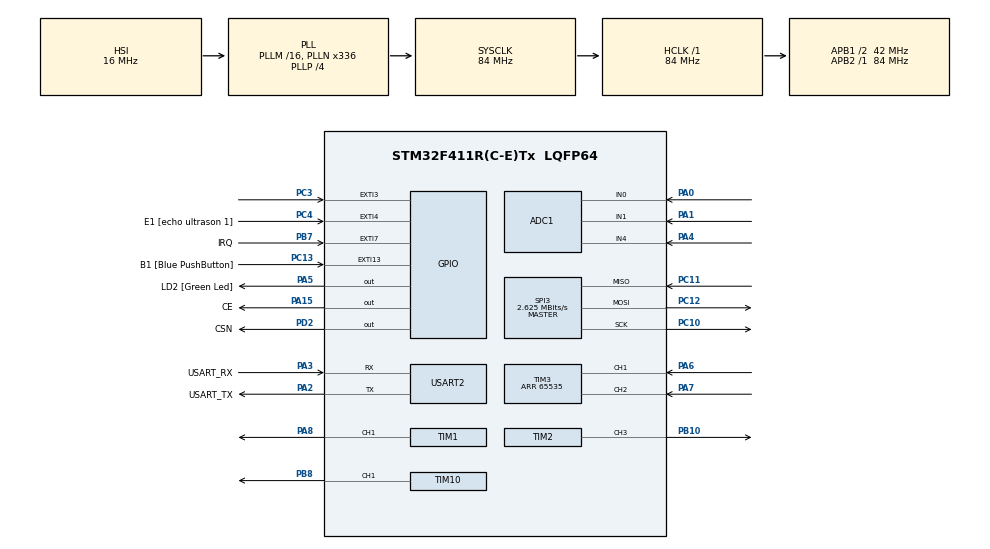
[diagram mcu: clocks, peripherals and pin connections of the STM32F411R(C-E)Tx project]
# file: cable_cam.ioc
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ADC1.Channel-0\#ChannelRegularConversion=ADC_CHANNEL_0
ADC1.ContinuousConvMode=ENABLE
ADC1.NbrOfConversionFlag=1
ADC1.Rank-0\#ChannelRegularConversion=1
ADC1.SamplingTime-0\#ChannelRegularConversion=ADC_SAMPLETIME_3CYCLES
ADC1.master=1
Mcu.Family=STM32F4
Mcu.Name=STM32F411R(C-E)Tx
Mcu.Package=LQFP64
NVIC.EXTI15_10_IRQn=true\:0\:0\:false
NVIC.EXTI3_IRQn=true\:0\:0\:false
NVIC.EXTI4_IRQn=true\:0\:0\:false
NVIC.EXTI9_5_IRQn=true\:0\:0\:false
NVIC.PriorityGroup=NVIC_PRIORITYGROUP_0
NVIC.TIM1_TRG_COM_TIM11_IRQn=true\:0\:0\:false
NVIC.TIM2_IRQn=true\:0\:0\:false
NVIC.TIM4_IRQn=true\:0\:0\:false
NVIC.TIM5_IRQn=true\:0\:0\:false
PA0-WKUP.Signal=ADCx_IN0
PA1.Signal=ADCx_IN1
PA13.GPIO_Label=TMS
PA13.Signal=SYS_JTMS-SWDIO
PA14.GPIO_Label=TCK
PA14.Signal=SYS_JTCK-SWCLK
PA15.GPIO_Label=CE
PA15.Signal=GPIO_Output
PA2.GPIO_Label=USART_TX
PA2.Mode=Asynchronous
PA2.Signal=USART2_TX
PA3.GPIO_Label=USART_RX
PA3.Mode=Asynchronous
PA3.Signal=USART2_RX
PA4.Signal=ADCx_IN4
PA5.GPIO_Label=LD2 [Green Led]
PA5.GPIO_PuPd=GPIO_NOPULL
PA5.Signal=GPIO_Output
PA6.Signal=S_TIM3_CH1
PA7.Signal=S_TIM3_CH2
PA8.Signal=S_TIM1_CH1
PB10.Signal=S_TIM2_CH3
PB3.GPIO_Label=SWO
PB3.Signal=SYS_JTDO-SWO
PB7.GPIO_Label=IRQ
PB7.GPIO_ModeDefaultEXTI=GPIO_MODE_IT_FALLING
PB7.GPIO_PuPd=GPIO_PULLUP
PB7.Signal=GPXTI7
PB8.Signal=S_TIM10_CH1
PC10.Mode=Full_Duplex_Master
PC10.Signal=SPI3_SCK
PC11.Mode=Full_Duplex_Master
PC11.Signal=SPI3_MISO
PC12.Mode=Full_Duplex_Master
PC12.Signal=SPI3_MOSI
PC13-ANTI_TAMP.GPIO_Label=B1 [Blue PushButton]
PC13-ANTI_TAMP.GPIO_ModeDefaultEXTI=GPIO_MODE_IT_FALLING
PC13-ANTI_TAMP.GPIO_PuPd=GPIO_PULLUP
PC13-ANTI_TAMP.Signal=GPXTI13
PC14-OSC32_IN.Signal=RCC_OSC32_IN
PC15-OSC32_OUT.Signal=RCC_OSC32_OUT
PC3.GPIO_ModeDefaultEXTI=GPIO_MODE_IT_RISING_FALLING
PC3.Signal=GPXTI3
PC4.GPIO_Label=E1 [echo ultrason 1]
PC4.GPIO_ModeDefaultEXTI=GPIO_MODE_IT_RISING_FALLING
PC4.GPIO_PuPd=GPIO_PULLUP
PC4.Signal=GPXTI4
PD2.GPIO_Label=CSN
PD2.Signal=GPIO_Output
PH0\ -\ OSC_IN.Signal=RCC_OSC_IN
PH1\ -\ OSC_OUT.Signal=RCC_OSC_OUT
ProjectManager.HeapSize=0x400
ProjectManager.StackSize=0x200
ProjectManager.TargetToolchain=SW4STM32
RCC.48MHZClocksFreq_Value=84000000
RCC.AHBFreq_Value=84000000
RCC.APB1CLKDivider=RCC_HCLK_DIV2
RCC.APB1Freq_Value=42000000
RCC.APB1TimFreq_Value=84000000
RCC.APB2Freq_Value=84000000
RCC.APB2TimFreq_Value=84000000
RCC.CortexFreq_Value=84000000
RCC.FLatency-AdvancedSettings=FLASH_LATENCY_2
RCC.HCLKFreq_Value=84000000
RCC.HSE_VALUE=8000000
RCC.HSI_VALUE=16000000
RCC.LSE_VALUE=32768
RCC.PLLN=336
RCC.PLLP=RCC_PLLP_DIV4
RCC.SYSCLKFreq_VALUE=84000000
RCC.SYSCLKSource=RCC_SYSCLKSOURCE_PLLCLK
RCC.VCOOutputFreq_Value=336000000
SH.ADCx_IN0.0=ADC1_IN0,IN0
SH.ADCx_IN1.0=ADC1_IN1,IN1
SH.ADCx_IN4.0=ADC1_IN4,IN4
SH.S_TIM10_CH1.0=TIM10_CH1,PWM Generation1 CH1
SH.S_TIM1_CH1.0=TIM1_CH1,PWM Generation1 CH1
SH.S_TIM2_CH3.0=TIM2_CH3,PWM Generation3 CH3
SH.S_TIM3_CH1.0=TIM3_CH1,Encoder_Interface
SH.S_TIM3_CH2.0=TIM3_CH2,Encoder_Interface
SPI3.BaudRatePrescaler=SPI_BAUDRATEPRESCALER_16
SPI3.CalculateBaudRate=2.625 MBits/s
SPI3.Mode=SPI_MODE_MASTER
TIM1.AutomaticOutput=TIM_AUTOMATICOUTPUT_ENABLE
TIM1.ClockDivision=TIM_CLOCKDIVISION_DIV4
TIM1.OCMode_PWM-PWM\ Generation1\ CH1=TIM_OCMODE_PWM2
TIM1.OCPolarity_1=TIM_OCPOLARITY_LOW
TIM1.Period=65000
TIM1.Prescaler=25
TIM1.Pulse-PWM\ Generation1\ CH1=4000
TIM1.RepetitionCounter=1
TIM10.ClockDivision=TIM_CLOCKDIVISION_DIV4
TIM10.Period=65525
TIM10.Prescaler=84
TIM10.Pulse=13050
TIM11.ClockDivision=TIM_CLOCKDIVISION_DIV4
TIM11.Period=65535
TIM11.Prescaler=64
TIM2.Channel-PWM\ Generation3\ CH3=TIM_CHANNEL_3
TIM2.ClockDivision=TIM_CLOCKDIVISION_DIV4
TIM2.OCMode_PWM-PWM\ Generation3\ CH3=TIM_OCMODE_PWM2
TIM2.Period=4294967295
TIM2.Prescaler=31
TIM2.Pulse-PWM\ Generation3\ CH3=1073741823
TIM3.Period=65535
TIM4.ClockDivision=TIM_CLOCKDIVISION_DIV4
TIM4.Period=65535
TIM4.Prescaler=1280
TIM5.ClockDivision=TIM_CLOCKDIVISION_DIV4
TIM5.Period=65535
TIM5.Prescaler=640
VP_TIM10_VS_ClockSourceINT.Mode=Enable_Timer
VP_TIM11_VS_ClockSourceINT.Mode=Enable_Timer
VP_TIM1_VS_ClockSourceINT.Mode=Internal
VP_TIM1_VS_ClockSourceITR.Mode=TriggerSource_ITR0
VP_TIM2_VS_ClockSourceINT.Mode=Internal
VP_TIM2_VS_ClockSourceITR.Mode=TriggerSource_ITR2
VP_TIM4_VS_ClockSourceINT.Mode=Internal
VP_TIM4_VS_ClockSourceITR.Mode=TriggerSource_ITR1
VP_TIM5_VS_ClockSourceINT.Mode=Internal
VP_TIM5_VS_ClockSourceITR.Mode=TriggerSource_ITR2
board=NUCLEO-F411RE

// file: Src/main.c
/**
  ******************************************************************************
  * File Name          : main.c
  * Description        : Main program body
  ******************************************************************************
  *
  * COPYRIGHT(c) 2016 STMicroelectronics
  *
  * Redistribution and use in source and binary forms, with or without modification,
  * are permitted provided that the following conditions are met:
  *   1. Redistributions of source code must retain the above copyright notice,
  *      this list of conditions and the following disclaimer.
  *   2. Redistributions in binary form must reproduce the above copyright notice,
  *      this list of conditions and the following disclaimer in the documentation
  *      and/or other materials provided with the distribution.
  *   3. Neither the name of STMicroelectronics nor the names of its contributors
  *      may be used to endorse or promote products derived from this software
  *      without specific prior written permission.
  *
  * THIS SOFTWARE IS PROVIDED BY THE COPYRIGHT HOLDERS AND CONTRIBUTORS "AS IS"
  * AND ANY EXPRESS OR IMPLIED WARRANTIES, INCLUDING, BUT NOT LIMITED TO, THE
  * IMPLIED WARRANTIES OF MERCHANTABILITY AND FITNESS FOR A PARTICULAR PURPOSE ARE
  * DISCLAIMED. IN NO EVENT SHALL THE COPYRIGHT HOLDER OR CONTRIBUTORS BE LIABLE
  * FOR ANY DIRECT, INDIRECT, INCIDENTAL, SPECIAL, EXEMPLARY, OR CONSEQUENTIAL
  * DAMAGES (INCLUDING, BUT NOT LIMITED TO, PROCUREMENT OF SUBSTITUTE GOODS OR
  * SERVICES; LOSS OF USE, DATA, OR PROFITS; OR BUSINESS INTERRUPTION) HOWEVER
  * CAUSED AND ON ANY THEORY OF LIABILITY, WHETHER IN CONTRACT, STRICT LIABILITY,
  * OR TORT (INCLUDING NEGLIGENCE OR OTHERWISE) ARISING IN ANY WAY OUT OF THE USE
  * OF THIS SOFTWARE, EVEN IF ADVISED OF THE POSSIBILITY OF SUCH DAMAGE.
  *
  ******************************************************************************
  */
#include "stm32f4xx_hal.h"
#include "adc.h"
#include "spi.h"
#include "tim.h"
#include "usart.h"
#include "gpio.h"

/* USER CODE BEGIN Includes */
#include "NRF24L01.h"
#include "stdio.h"
#include "string.h"
/* USER CODE END Includes */

/* USER CODE BEGIN PV */
/* Private variables ---------------------------------------------------------*/
 uint32_t adcValue = 0;
 uint8_t rx_data[10];
 uint8_t NRF24L01_Status;
 sRX controlStruct;
 uTelemetry utelemetry;
 sTelemetry telemetryStruct;

 uint8_t printBuffer[64];
 uint8_t n;
/* USER CODE END PV */

void SystemClock_Config(void);

/* USER CODE BEGIN PFP */
/* Private function prototypes -----------------------------------------------*/
void parseRXMessages(uint8_t *rxBuffer, sRX *rxData);
void wallDetection(sRX *control,sTelemetry *telemetry);
/* USER CODE END PFP */

int main(void)
{

  /* MCU Configuration----------------------------------------------------------*/

  /* Reset of all peripherals, Initializes the Flash interface and the Systick. */
  HAL_Init();

  /* Configure the system clock */
  SystemClock_Config();

  /* Initialize all configured peripherals */
  MX_GPIO_Init();
  MX_ADC1_Init();
  MX_TIM1_Init();
  MX_TIM3_Init();
  MX_USART2_UART_Init();
  MX_TIM11_Init();
  MX_TIM4_Init();
  MX_SPI3_Init();
  MX_TIM2_Init();
  MX_TIM10_Init();
  MX_TIM5_Init();

  /* USER CODE BEGIN 2 */
  HAL_TIM_Encoder_Start(&htim3,TIM3);
  HAL_TIM_PWM_Start (&htim1, TIM1);
  HAL_TIM_PWM_Start (&htim2, TIM2);
  HAL_TIM_PWM_Start (&htim10, TIM10);
  HAL_ADC_Start(&hadc1);
  HAL_TIM_Base_Start_IT(&htim4);
  HAL_TIM_Base_Start_IT(&htim5);
  HAL_TIM_Base_Start_IT(&htim11);

  NRF24l01_Initialization(&hspi3,PRX);
  NRF24L01_Status= NRF24L01_Read_Status(&hspi3);
  NRF24L01_Clear_RX_DR(&hspi3,NRF24L01_Status);
  NRF24L01_Flush(&hspi3,RX);
//  HAL_TIM_Encoder_Start(&htim3,TIM_CHANNEL_1);
  /* USER CODE END 2 */

  /* Infinite loop */
  /* USER CODE BEGIN WHILE */

  while (1)
  {
//	  n = sprintf(printBuffer,"a\n\r");
//	  HAL_UART_Transmit(&huart2,printBuffer,n,1000);
	  adcValue = TIM3->CNT;
//      adcValue = HAL_ADC_GetValue(&hadc1);
//      TIM_PWM_SetPulse(&htim1,000);
//	  n = sprintf(printBuffer,"%d, %d\n\r",utelemetry.telemetry.distanceFront,utelemetry.telemetry.distanceBack);
//	  HAL_UART_Transmit(&huart2,printBuffer,n,1000);
//	  memcpy(rx_data,"{|}",3);
//	  parseRXMessages(rx_data,&controlStruct);
//	  wallDetection(&controlStruct,&telemetryStruct);
	  TIM_PWM_SetPulse(&htim1,(controlStruct.torque*50)+2500);
      if (controlStruct.requestTelem == 1)
      {
    	  HAL_GPIO_TogglePin(GPIOA, LD2_Pin);
    	  NRF24L01_Mode(&hspi3,PTX);
    	  HAL_Delay(10);
    	  NRF24L01_Transmit(&hspi3,0x385338,utelemetry.aTelemetry,9,TRUE);
		  clear_flag_IRQ();
    	  NRF24L01_Mode(&hspi3,PRX);
    	  controlStruct.requestTelem = 0;
    	  n = sprintf(printBuffer,"value sent\n\r");
    	  HAL_UART_Transmit(&huart2,printBuffer,n,1000);
      }
	  if(get_flag_IRQ()||((HAL_GPIO_ReadPin(GPIOA,GPIO_PIN_7)==GPIO_PIN_RESET))){
		  __HAL_TIM_SetCounter(&htim5, 0);//reset keepalive counter
		  NRF24L01_Status= NRF24L01_Read_Status(&hspi3);
		  //printf("IRQ\r");
		  if((NRF24L01_Status >> 1)==1){
			  NRF24L01_Flush(&hspi3,RX);
		  }
		  if(NRF24L01_Status & (1<<RX_DR)){
			  rx_data[0]=NRF24L01_Read_Data_Pipe_Number(&hspi3,NRF24L01_Status);
			  NRF24L01_Read_RX_Payload(&hspi3,rx_data,RX_PIPE_1_PAYLOAD);
			  HAL_UART_Transmit(&huart2,rx_data,3,1000);
			  parseRXMessages(rx_data,&controlStruct);
			  NRF24L01_Clear_RX_DR(&hspi3,NRF24L01_Status);
//			  HAL_GPIO_TogglePin(GPIOA, LD2_Pin);
		  }
		  if(NRF24L01_Status & (1<<TX_DS)){
			  NRF24L01_Flush(&hspi3,TX);
			  NRF24L01_Clear_TX_DS(&hspi3,NRF24L01_Status);
		  }
		  if(NRF24L01_Status & (1<<MAX_RT)){
			  NRF24L01_Flush(&hspi3,TX);
			  NRF24L01_Clear_MAX_RT(&hspi3,NRF24L01_Status);
		  }
		  clear_flag_IRQ();
	  }
     // HAL_Delay(20);
  /* USER CODE END WHILE */

  /* USER CODE BEGIN 3 */
//	  HAL_GPIO_WritePin(LD2_GPIO_Port, LD2_Pin, GPIO_PIN_SET);
  }

  /* USER CODE END 3 */

}

/** System Clock Configuration
*/
void SystemClock_Config(void)
{

  RCC_OscInitTypeDef RCC_OscInitStruct;
  RCC_ClkInitTypeDef RCC_ClkInitStruct;

  __PWR_CLK_ENABLE();

  __HAL_PWR_VOLTAGESCALING_CONFIG(PWR_REGULATOR_VOLTAGE_SCALE1);

  RCC_OscInitStruct.OscillatorType = RCC_OSCILLATORTYPE_HSI;
  RCC_OscInitStruct.HSIState = RCC_HSI_ON;
  RCC_OscInitStruct.HSICalibrationValue = 16;
  RCC_OscInitStruct.PLL.PLLState = RCC_PLL_ON;
  RCC_OscInitStruct.PLL.PLLSource = RCC_PLLSOURCE_HSI;
  RCC_OscInitStruct.PLL.PLLM = 16;
  RCC_OscInitStruct.PLL.PLLN = 336;
  RCC_OscInitStruct.PLL.PLLP = RCC_PLLP_DIV4;
  RCC_OscInitStruct.PLL.PLLQ = 4;
  HAL_RCC_OscConfig(&RCC_OscInitStruct);

  RCC_ClkInitStruct.ClockType = RCC_CLOCKTYPE_HCLK|RCC_CLOCKTYPE_SYSCLK
                              |RCC_CLOCKTYPE_PCLK1|RCC_CLOCKTYPE_PCLK2;
  RCC_ClkInitStruct.SYSCLKSource = RCC_SYSCLKSOURCE_PLLCLK;
  RCC_ClkInitStruct.AHBCLKDivider = RCC_SYSCLK_DIV1;
  RCC_ClkInitStruct.APB1CLKDivider = RCC_HCLK_DIV2;
  RCC_ClkInitStruct.APB2CLKDivider = RCC_HCLK_DIV1;
  HAL_RCC_ClockConfig(&RCC_ClkInitStruct, FLASH_LATENCY_2);

  HAL_SYSTICK_Config(HAL_RCC_GetHCLKFreq()/1000);

  HAL_SYSTICK_CLKSourceConfig(SYSTICK_CLKSOURCE_HCLK);

  /* SysTick_IRQn interrupt configuration */
  HAL_NVIC_SetPriority(SysTick_IRQn, 0, 0);
}

/* USER CODE BEGIN 4 */
void parseRXMessages(uint8_t *rxBuffer, sRX *rxData)
{
	__HAL_TIM_SetCounter(&htim5, 0);//reset keepalive counter

	char *torqueHeader = "{|";
	char *commandHeader = "}~";

	if (!(memcmp(torqueHeader,rxBuffer,2)))
	{
		rxData->torque = rxBuffer[2];
	}
	else if (!(memcmp(commandHeader,rxBuffer,2)))
	{
		switch ( rxBuffer[2] )
		{
			case 'A':
				rxData->emergencyStop = 1;
			  break;
			case 'K':
				rxData->keepAlive = 1;
			  break;
			case 'T':
				rxData->requestTelem = 1;
			  break;
			default:
		    	  n = sprintf(printBuffer,"invalid rxData\n\r");
		    	  HAL_UART_Transmit(&huart2,printBuffer,n,1000);
			  break;
		}
	}
}

void wallDetection(sRX *control,sTelemetry *telemetry)
{
	if (telemetry->distanceFront <100)
	{
		control->torque = (float)control->torque/100*telemetry->distanceFront;
	}
	else if (telemetry->distanceBack <100)
	{
		control->torque = (float)control->torque/100*telemetry->distanceBack;
	}
}
/* USER CODE END 4 */

/************************ (C) COPYRIGHT STMicroelectronics *****END OF FILE****/
